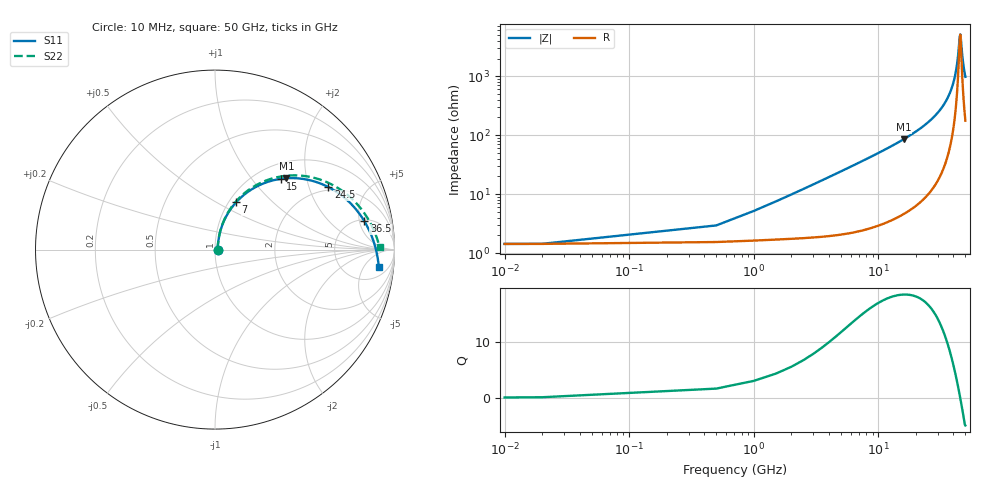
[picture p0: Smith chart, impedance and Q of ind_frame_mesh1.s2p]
! Created with skrf 2.1.0 (http://scikit-rf.org).
# GHz S DB R 50.0
! Port[1] = P1
! Port[2] = P2
!freq dBS11 angS11 dBS21 angS21 dBS12 angS12 dBS22 angS22
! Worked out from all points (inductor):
!   102 points, 10 MHz to 50 GHz, reference 50 ohm
!   read as 1/Y11, port 2 shorted: L = 777 pH near 1 GHz
!   highest Q = 18.5 at 16 GHz (marker M1), where L = 852 pH
!   self-resonance near 45 GHz
!   S11 on the Smith chart (normalised r, x): 10 MHz: 1.03, +0.00; 7 GHz: 1.08, +0.62; 15 GHz: 1.28, +1.41; 24.5 GHz: 1.87, +2.71; 36.5 GHz: 5.29, +5.94; 50 GHz: 9, -11
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0.01  -36.98 2.0  -0.12 -0.0  -0.12 -0.0  -36.98 2.0
0.5  -31.39 54.4  -0.14 -1.6  -0.14 -1.6  -31.39 54.4
1  -26.67 67.3  -0.15 -3.1  -0.15 -3.1  -26.66 67.4
1.5  -23.50 71.7  -0.17 -4.5  -0.17 -4.5  -23.50 71.9
2  -21.15 73.5  -0.19 -6.0  -0.19 -6.0  -21.15 73.6
3  -17.77 73.8  -0.24 -8.9  -0.24 -8.9  -17.78 74.1
4  -15.36 72.5  -0.31 -11.7  -0.31 -11.7  -15.37 73.0
5.5  -12.74 69.5  -0.43 -15.9  -0.43 -15.9  -12.75 70.1
7  -10.81 66.0  -0.59 -20.0  -0.59 -20.0  -10.81 66.8
8.5  -9.31 62.3  -0.77 -23.9  -0.77 -23.9  -9.32 63.3
11.5  -7.12 55.1  -1.21 -31.4  -1.21 -31.4  -7.13 56.4
15  -5.39 47.1  -1.80 -39.4  -1.80 -39.4  -5.40 48.9
16  -5.00 45.0  -1.98 -41.5  -1.98 -41.5  -5.01 46.9
17  -4.65 42.9  -2.17 -43.6  -2.17 -43.6  -4.66 44.9
20.5  -3.66 36.0  -2.84 -50.4  -2.84 -50.4  -3.67 38.5
24.5  -2.83 28.8  -3.65 -57.4  -3.65 -57.4  -2.85 31.8
25.5  -2.67 27.2  -3.85 -59.1  -3.85 -59.1  -2.68 30.3
29.5  -2.11 20.8  -4.68 -65.3  -4.68 -65.3  -2.12 24.5
33.5  -1.69 14.9  -5.52 -71.0  -5.52 -71.0  -1.70 19.2
36.5  -1.44 10.8  -6.15 -75.0  -6.15 -75.0  -1.45 15.5
42  -1.09 3.7  -7.32 -81.8  -7.32 -81.8  -1.10 9.2
50  -0.75 -6.0  -9.09 -90.9  -9.09 -90.9  -0.75 0.9
